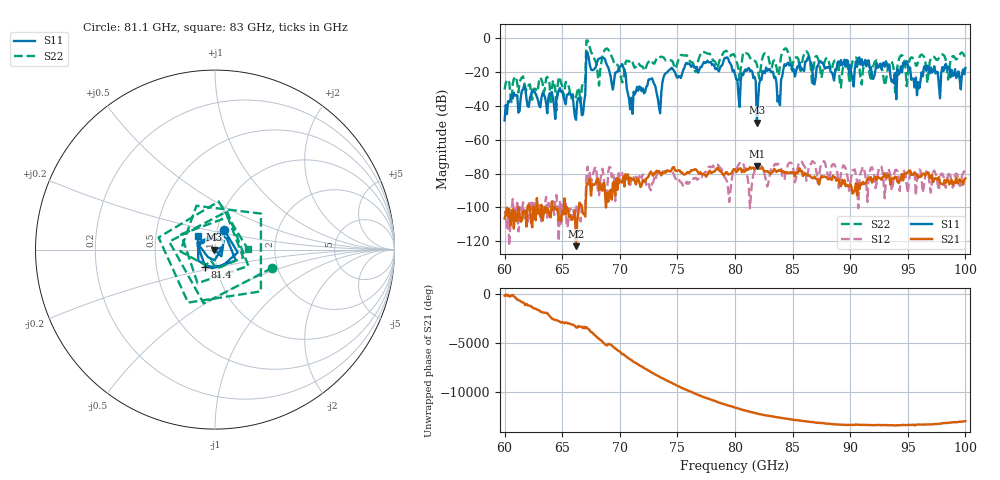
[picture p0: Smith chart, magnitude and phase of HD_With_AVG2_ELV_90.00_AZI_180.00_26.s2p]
! 11/25/2026 10:22:51 AM
! C:\ANRITSUVNA\TEMP\TEMP.S2P
! CHANNEL.1
! TR.MEASUREMENT
! RAW.DATA
# HZ S RI R 50.0
! FREQ.HZ  S11RE  S11IM  S21RE  S21IM  S12RE  S12IM  S22RE  S22IM
!; PortSelection: Port_12
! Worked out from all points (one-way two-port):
!   401 points, 60 GHz to 100 GHz, reference 50 ohm
!   highest |S21| = -75.73 dB at 81.9 GHz (marker M1); lowest = -122.8 dB at 66.2 GHz (marker M2)
!   lowest |S11| = -50.2 dB at 81.9 GHz (marker M3), VSWR 1.01, Z = 49.7 + j0.0229 ohm
!   |S11| at or under -10 dB: start of sweep to 67.09 GHz; 67.24 GHz to end of sweep
!   |S22| runs from -42.9 to -1.7 dB; largest |S21 - S12| = 0.00031
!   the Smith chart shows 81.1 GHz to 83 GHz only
!   S11 on the Smith chart (normalised r, x): 81.1 GHz: 1.08, +0.24; 81.4 GHz: 0.88, -0.17; 83 GHz: 0.82, +0.12
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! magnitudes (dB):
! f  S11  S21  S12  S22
! 60 GHz  -48.7  -106.5  -103.9  -30.5
! 61.6 GHz  -30.6  -102.1  -96.9  -22.8
! 66.2 GHz  -48.4  -122.8  -98.7  -35.2
! 66.7 GHz  -45.7  -99.5  -98.8  -29.5
! 67.3 GHz  -12.1  -86.2  -84.1  -3.1
! 68.4 GHz  -11.8  -89.6  -79.5  -14.7
! 68.9 GHz  -16.4  -91.4  -90.7  -6.5
! 70.3 GHz  -17.5  -82.1  -81.7  -25.5
! 70.9 GHz  -42.3  -82.5  -86.8  -13.5
! 72.7 GHz  -24.3  -78.9  -89.9  -13.3
! 73.4 GHz  -40.8  -78.5  -79.1  -12.6
! 74.4 GHz  -18.6  -78.9  -78.9  -13.4
! 80 GHz  -21.3  -77.5  -78.9  -11.0
! 81.1 GHz  -18.4  -77.8  -82.6  -9.5
! 81.4 GHz  -19.3  -77.2  -91.0  -13.0
! 81.9 GHz  -50.2  -75.7  -75.7  -15.8
! 83 GHz  -18.4  -79.7  -82.0  -14.8
! 83.8 GHz  -34.4  -78.0  -74.9  -22.4
! 84.4 GHz  -16.7  -79.5  -79.3  -6.3
! 86.7 GHz  -17.5  -82.7  -72.8  -27.9
! 93.4 GHz  -16.3  -82.0  -78.5  -15.6
! 100 GHz  -17.8  -82.9  -80.6  -12.1
